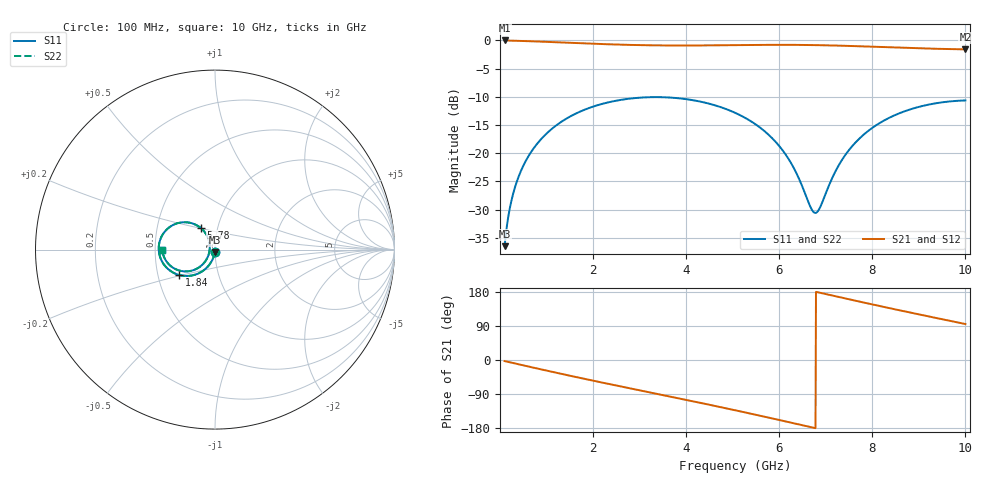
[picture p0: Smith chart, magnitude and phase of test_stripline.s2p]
! AWR Design Environment (17492) Mon Jun 30 08:36:40 2025
! Document = 'test_stripline'
! nPorts: 2, nXvals: 991
# GHz S DB R 50
!Freq DBS11 AngS11 DBS21 AngS21 DBS12 AngS12 DBS22 AngS22
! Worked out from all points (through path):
!   991 points, 100 MHz to 10 GHz, reference 50 ohm
!   highest |S21| = -0.03 dB at 100 MHz (marker M1); lowest = -1.6 dB at 10 GHz (marker M2)
!   group delay of S21, straight-line fit = 73.5 ps
!   lowest |S11| = -36.5 dB at 100 MHz (marker M3), VSWR 1.03, Z = 49.9 - j1.49 ohm
!   |S11| at or under -10 dB: start of sweep to end of sweep
!   |S22| runs from -36.5 to -10.1 dB; largest |S21 - S12| = 0
!   S11 on the Smith chart (normalised r, x): 100 MHz: 1.00, -0.03; 1.84 GHz: 0.64, -0.19; 5.78 GHz: 0.83, +0.20; 10 GHz: 0.55, -0.00
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0.1  -36.49 -94.3  -0.03 -2.9  -0.03 -2.9  -36.49 -94.3
0.2  -30.28 -98.4  -0.05 -5.7  -0.05 -5.7  -30.28 -98.4
0.3  -26.70 -101.8  -0.07 -8.5  -0.07 -8.5  -26.70 -101.8
0.43  -23.56 -105.9  -0.10 -12.2  -0.10 -12.2  -23.56 -105.9
0.6  -20.72 -110.9  -0.15 -16.9  -0.15 -16.9  -20.72 -110.9
1.08  -15.94 -124.4  -0.30 -30.1  -0.30 -30.1  -15.94 -124.4
1.75  -12.54 -142.3  -0.52 -48.0  -0.52 -48.0  -12.54 -142.3
1.84  -12.23 -144.6  -0.55 -50.4  -0.55 -50.4  -12.23 -144.6
2.61  -10.54 -164.1  -0.77 -70.1  -0.77 -70.1  -10.54 -164.1
3.4  -10.07 176.7  -0.90 -90.1  -0.90 -90.1  -10.07 176.7
4.23  -10.74 157.0  -0.91 -111.1  -0.91 -111.1  -10.74 157.0
5.05  -12.84 138.0  -0.85 -132.5  -0.85 -132.5  -12.84 138.0
5.78  -16.80 123.4  -0.80 -152.2  -0.80 -152.2  -16.80 123.4
6.26  -21.84 120.3  -0.80 -165.5  -0.80 -165.5  -21.84 120.3
6.7  -30.01 156.5  -0.84 -177.7  -0.84 -177.7  -30.01 156.5
6.85  -30.05 -166.7  -0.86 178.1  -0.86 178.1  -30.05 -166.7
7.22  -23.04 -131.2  -0.93 167.9  -0.93 167.9  -23.04 -131.2
7.55  -18.93 -130.2  -1.01 158.8  -1.01 158.8  -18.93 -130.2
7.91  -16.08 -135.0  -1.11 149.1  -1.11 149.1  -16.08 -135.0
8.35  -13.79 -143.5  -1.23 137.3  -1.23 137.3  -13.79 -143.5
9.17  -11.47 -161.1  -1.46 116.0  -1.46 116.0  -11.47 -161.1
10  -10.66 -179.4  -1.60 94.9  -1.60 94.9  -10.66 -179.4
